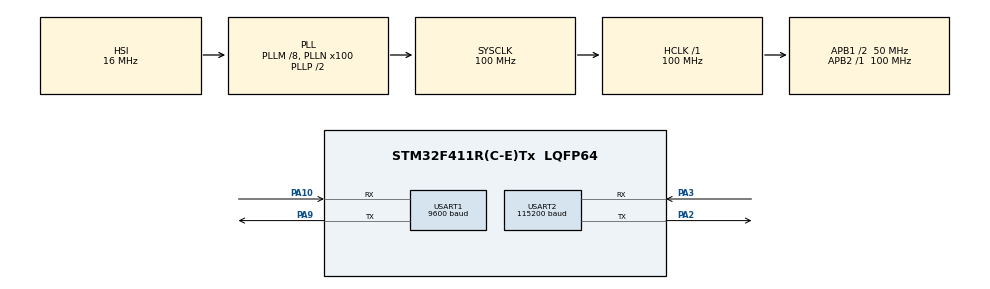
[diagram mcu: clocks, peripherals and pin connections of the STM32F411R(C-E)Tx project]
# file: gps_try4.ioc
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Dma.Request0=USART1_RX
Dma.USART1_RX.0.Direction=DMA_PERIPH_TO_MEMORY
Dma.USART1_RX.0.FIFOMode=DMA_FIFOMODE_DISABLE
Dma.USART1_RX.0.Instance=DMA2_Stream2
Dma.USART1_RX.0.MemDataAlignment=DMA_MDATAALIGN_BYTE
Dma.USART1_RX.0.MemInc=DMA_MINC_ENABLE
Dma.USART1_RX.0.Mode=DMA_CIRCULAR
Dma.USART1_RX.0.PeriphDataAlignment=DMA_PDATAALIGN_BYTE
Dma.USART1_RX.0.PeriphInc=DMA_PINC_DISABLE
Dma.USART1_RX.0.Priority=DMA_PRIORITY_HIGH
Mcu.Family=STM32F4
Mcu.Name=STM32F411R(C-E)Tx
Mcu.Package=LQFP64
NVIC.DMA2_Stream2_IRQn=true\:0\:0\:false\:false\:true\:false\:true
NVIC.PriorityGroup=NVIC_PRIORITYGROUP_0
NVIC.USART1_IRQn=true\:0\:0\:false\:false\:true\:true\:true
PA10.Mode=Asynchronous
PA10.Signal=USART1_RX
PA2.Mode=Asynchronous
PA2.Signal=USART2_TX
PA3.Mode=Asynchronous
PA3.Signal=USART2_RX
PA9.Mode=Asynchronous
PA9.Signal=USART1_TX
ProjectManager.HeapSize=0x200
ProjectManager.StackSize=0x400
ProjectManager.TargetToolchain=STM32CubeIDE
RCC.48MHZClocksFreq_Value=50000000
RCC.AHBFreq_Value=100000000
RCC.APB1CLKDivider=RCC_HCLK_DIV2
RCC.APB1Freq_Value=50000000
RCC.APB1TimFreq_Value=100000000
RCC.APB2Freq_Value=100000000
RCC.APB2TimFreq_Value=100000000
RCC.CortexFreq_Value=100000000
RCC.FLatency-AdvancedSettings=FLASH_LATENCY_3
RCC.HCLKFreq_Value=100000000
RCC.HSE_VALUE=8000000
RCC.HSI_VALUE=16000000
RCC.LSE_VALUE=32768
RCC.PLLM=8
RCC.PLLN=100
RCC.SYSCLKFreq_VALUE=100000000
RCC.SYSCLKSource=RCC_SYSCLKSOURCE_PLLCLK
RCC.VCOOutputFreq_Value=200000000
USART1.BaudRate=9600
USART1.VirtualMode=VM_ASYNC
USART2.BaudRate=115200
USART2.VirtualMode=VM_ASYNC
board=NUCLEO-F411RE

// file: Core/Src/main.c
/* USER CODE BEGIN Header */
/**
 ******************************************************************************
 * @file           : main.c
 * @brief          : Main program body
 ******************************************************************************
 * @attention
 *
 * <h2><center>&copy; Copyright (c) 2021 STMicroelectronics.
 * All rights reserved.</center></h2>
 *
 * This software component is licensed by ST under BSD 3-Clause license,
 * the "License"; You may not use this file except in compliance with the
 * License. You may obtain a copy of the License at:
 *                        opensource.org/licenses/BSD-3-Clause
 *
 ******************************************************************************
 */
/* USER CODE END Header */
#include "main.h"

/* USER CODE BEGIN Includes */
#include <stdio.h>
#include <string.h>
#include <stdlib.h>
#include <stdarg.h> //for va_list var arg functions
/* USER CODE END Includes */

/* USER CODE BEGIN PD */
#define SIZE 300 // Buffer boyutu.
/* USER CODE END PD */

UART_HandleTypeDef huart1;
UART_HandleTypeDef huart2;
DMA_HandleTypeDef hdma_usart1_rx;

/* USER CODE BEGIN PV */
uint8_t flag = 0;
/* USER CODE END PV */

void SystemClock_Config(void);
static void MX_GPIO_Init(void);
static void MX_DMA_Init(void);
static void MX_USART2_UART_Init(void);
static void MX_USART1_UART_Init(void);
/* USER CODE BEGIN PFP */
void HAL_UART_RxCpltCallback(UART_HandleTypeDef *huart) {

	/* Eğer huart1 buffer dolduysa, bayrağı işaretle. */
	flag = 1;

}

float GPS_nmea_to_dec(float deg_coord, char nsew) {
    int degree = (int)(deg_coord/100);
    float minutes = deg_coord - degree*100;
    float dec_deg = minutes / 60;
    float decimal = degree + dec_deg;
    if (nsew == 'S' || nsew == 'W') { // return negative
        decimal *= -1;
    }
    return decimal;
}
int nmea0183_checksum(char *msg) {

	int checksum = 0;
	int j = 0;

	// the first $ sign and the last two bytes of original CRC + the * sign
	for (j = 1; j < strlen(msg) - 4; j++) {
		checksum = checksum ^ (unsigned) msg[j];
	}

	return checksum;
}

void serialPrint(const char *fmt, ...) {
	static char buffer[256];
	va_list args;
	va_start(args, fmt);
	vsnprintf(buffer, sizeof(buffer), fmt, args);
	va_end(args);

	HAL_UART_Transmit(&huart2, (uint8_t*) buffer, strlen(buffer), -1); // UART defined at huart2 for serial communication with computer.

}

/* USER CODE END PFP */

int main(void)
{

  /* MCU Configuration--------------------------------------------------------*/

  /* Reset of all peripherals, Initializes the Flash interface and the Systick. */
  HAL_Init();

  /* Configure the system clock */
  SystemClock_Config();

  /* Initialize all configured peripherals */
  MX_GPIO_Init();
  MX_DMA_Init();
  MX_USART2_UART_Init();
  MX_USART1_UART_Init();
  /* USER CODE BEGIN 2 */

	/* Recieve buffer */
	uint8_t gpsRx[SIZE];
	memset(gpsRx, 0, SIZE); // Bufferı temizle.

	/* DMA'yı huart1 için başlat; circular mode */
	HAL_UART_Receive_DMA(&huart1, gpsRx, SIZE);

	/* Gerekli değişkenler */
	char stringBuffer[SIZE + 1]; // stringBuffer --> Integer gelen uart verisini, char'a çevirip saklamak için. (+1 eklentisi, en sona NULL eklemek için.)
	memset(stringBuffer, 0, SIZE + 1); // Buffer gereksiz veriden temizleniyor.

	char nmeaStr[100]; // NMEA verisini saklayacağımız değişken.
	memset(nmeaStr, 0, 100); // Buffer temizleniyor.

	/* Gelen bilgiyi parçalara bölmek için kullanılacak fonksiyonlar için değişkenler. (strsep ve strdup) */
	char *token, *string, *stringFree;
	char *rawSum;	// NMEA checksum değişkeni.
	char smNmbr[3]; // NMEA checksum değişkeni.
	uint8_t intSum;
	char hex[2]; // Checksum saklama değişkeni.

	//GPS bilgisi için veri yapısı.
	typedef struct{

	    // calculated values
		float dec_longitude;
	    float dec_latitude;

	    // GGA - Global Positioning System Fixed Data
	    float nmea_longitude;
	    float nmea_latitude;
	    float utc_time;
	    char ns, ew;

	    // GPS - RMC
	    float speed_k;
	    int date;

	    // GLL
	    char gll_status;

	} GPS_t;
	GPS_t gpsData;
	gpsData.date = 00000000;

  /* USER CODE END 2 */

  /* Infinite loop */
  /* USER CODE BEGIN WHILE */
	while (1) {

		/* Eğer buffer dolduysa devam et. */
		if (flag == 1) {

			/* Gelen veriyi bilgisayara yolla. */
			//HAL_UART_Transmit(&huart2, gpsRx, SIZE, 200); // Debug maksatlı, istenilirse kapatılabilir.

			/* Integer buffer ---> string buffer */
			sprintf(stringBuffer, "%s", gpsRx);

			/* Gelen veri, char'a çeviliyor. (Integer'den) */
			string = strdup(stringBuffer); // stringFree ile işimiz bitince belleği geri bırakacağız.

			stringFree = string;

			/* Gelen NMEA verisini, satır sonuna göre bölünüyor. (\n) */
			while( (token = strsep(&string, "\n")) != NULL ){

				memset(nmeaStr, 0, 100); // Eski verileri siliyoruz.
				sprintf(nmeaStr, "%s", token); // Token verisi, işlenmek üzere char array'e aktarılıyor.

				/* Cümlelere bölünen verileri, istediğimize göre filtreleyeceğiz. */
				/* İyi bir NMEA cümlesi $GPRMC ile başlar, * ile biter ve en az 49 karakter uzunluğunda olur. */
				if ((strstr(nmeaStr, "$GPRMC") != 0) && strlen(nmeaStr) > 49 && strstr(nmeaStr, "*") != 0) {

					/* NMEA checksum */
					rawSum = strstr(nmeaStr, "*"); // * ile başlyan checksum verisi depolanır.
					memcpy(smNmbr, &rawSum[1], 2); // *'dan sonrası smNmbr değişkenine kopyalanır.
					smNmbr[2] = '\0'; // smNmbr değişkenin sonuna satır sonu işaretçisi eklenir.
					intSum = nmea0183_checksum(nmeaStr); // Checksum hesabı yapıyoruz.
					sprintf(hex, "%X", intSum); // Kıyaslayabilmek için checksum'u hex formatında kaydediyoruz.

					/* Checksum kontrolü. */
					if (strstr(smNmbr, hex) != NULL) {

						/* Gelen veriyi bilgisayara aktarmak için... */
						//HAL_UART_Transmit(&huart2, (uint8_t*) nmeaStr, 100, 70);
						//HAL_UART_Transmit(&huart2, (uint8_t*) "\n", 1, 200);

						/* Chekcsum doğru, gelen NMEA cümlesinde hata yok. Cümleyi parçalara bölebiliriz. */
						sscanf(nmeaStr, "$GPRMC,%f,%c,%f,%c,%f,%c,%f,,%d", &gpsData.utc_time, &gpsData.gll_status, &gpsData.nmea_latitude, &gpsData.ns, &gpsData.nmea_longitude, &gpsData.ew, &gpsData.speed_k, &gpsData.date);
						/* Enlem ve boylam bilgisini, yerkürenin bulunduğumuz tarafına göre anlamlandırıp standart formata getiriyoruz. */
						gpsData.dec_latitude = GPS_nmea_to_dec(gpsData.nmea_latitude, gpsData.ns);
						gpsData.dec_longitude = GPS_nmea_to_dec(gpsData.nmea_longitude, gpsData.ew);

						/* Gelen, anlamlandırılmış veriyi bilgisayara anlatmak için. */
						serialPrint("Lat.: %f, Lon.: %f, Speed (knot): %f, UTC: %f, Date: %d\r\n", gpsData.dec_latitude, gpsData.dec_longitude, gpsData.speed_k, gpsData.utc_time, gpsData.date);

					} else if((strstr(nmeaStr, "$GPGLL") != 0) && strlen(nmeaStr) > 49 && strstr(nmeaStr, "*") != 0) {

						/* NMEA checksum */
						rawSum = strstr(nmeaStr, "*"); // * ile başlyan checksum verisi depolanır.
						memcpy(smNmbr, &rawSum[1], 2); // *'dan sonrası smNmbr değişkenine kopyalanır.
						smNmbr[2] = '\0'; // smNmbr değişkenin sonuna satır sonu işaretçisi eklenir.
						intSum = nmea0183_checksum(nmeaStr); // Checksum hesabı yapıyoruz.
						sprintf(hex, "%X", intSum); // Kıyaslayabilmek için checksum'u hex formatında kaydediyoruz.

						/* Checksum kontrolü. */
						if (strstr(smNmbr, hex) != NULL) {

							/* Gelen veriyi bilgisayara aktarmak için... */
							//HAL_UART_Transmit(&huart2, (uint8_t*) nmeaStr, 100, 70);
							//HAL_UART_Transmit(&huart2, (uint8_t*) "\n", 1, 200);

							/* Chekcsum doğru, gelen NMEA cümlesinde hata yok. Cümleyi parçalara bölebiliriz. */
							sscanf(nmeaStr, "$GPGLL,%f,%c,%f,%c,%f,%c", &gpsData.nmea_latitude, &gpsData.ns, &gpsData.nmea_longitude, &gpsData.ew, &gpsData.utc_time, &gpsData.gll_status);
							/* Enlem ve boylam bilgisini, yerkürenin bulunduğumuz tarafına göre anlamlandırıp standart formata getiriyoruz. */
							gpsData.dec_latitude = GPS_nmea_to_dec(gpsData.nmea_latitude, gpsData.ns);
							gpsData.dec_longitude = GPS_nmea_to_dec(gpsData.nmea_longitude, gpsData.ew);

							/* Gelen, anlamlandırılmış veriyi bilgisayara anlatmak için. */
							serialPrint("Lat.: %f, Lon.: %f, UTC: %f, Date: %d\r\n", gpsData.dec_latitude, gpsData.dec_longitude, gpsData.utc_time, gpsData.date);

						}

					}

				} // NMEA cümlesi seçimi bitti.

			} // "\n" ile gelen veriyi cümlelere ayırma bitti.

			/* Bellekte gerekisz yer kaplayan değişkeni temizliyoruz. (Eğer aşağısı yorum olarak kayıt edildiyse, sebebi aşağıdaki fonksiyonların işlemcide kritik hataya sebep olmasıdır.) */
			free(token);
			free(stringFree);

			/* Yeni veri almaya hazırız. */
			flag = 0;
			memset(gpsRx, 0, SIZE);
			HAL_UART_Receive_DMA(&huart1, gpsRx, SIZE);

		}

		/* Yarım saniye gecikme. */
		//HAL_Delay(500);

    /* USER CODE END WHILE */

	}
}

void SystemClock_Config(void)
{
  RCC_OscInitTypeDef RCC_OscInitStruct = {0};
  RCC_ClkInitTypeDef RCC_ClkInitStruct = {0};

  /** Configure the main internal regulator output voltage
  */
  __HAL_RCC_PWR_CLK_ENABLE();
  __HAL_PWR_VOLTAGESCALING_CONFIG(PWR_REGULATOR_VOLTAGE_SCALE1);
  /** Initializes the RCC Oscillators according to the specified parameters
  * in the RCC_OscInitTypeDef structure.
  */
  RCC_OscInitStruct.OscillatorType = RCC_OSCILLATORTYPE_HSI;
  RCC_OscInitStruct.HSIState = RCC_HSI_ON;
  RCC_OscInitStruct.HSICalibrationValue = RCC_HSICALIBRATION_DEFAULT;
  RCC_OscInitStruct.PLL.PLLState = RCC_PLL_ON;
  RCC_OscInitStruct.PLL.PLLSource = RCC_PLLSOURCE_HSI;
  RCC_OscInitStruct.PLL.PLLM = 8;
  RCC_OscInitStruct.PLL.PLLN = 100;
  RCC_OscInitStruct.PLL.PLLP = RCC_PLLP_DIV2;
  RCC_OscInitStruct.PLL.PLLQ = 4;
  if (HAL_RCC_OscConfig(&RCC_OscInitStruct) != HAL_OK)
  {
    Error_Handler();
  }
  /** Initializes the CPU, AHB and APB buses clocks
  */
  RCC_ClkInitStruct.ClockType = RCC_CLOCKTYPE_HCLK|RCC_CLOCKTYPE_SYSCLK
                              |RCC_CLOCKTYPE_PCLK1|RCC_CLOCKTYPE_PCLK2;
  RCC_ClkInitStruct.SYSCLKSource = RCC_SYSCLKSOURCE_PLLCLK;
  RCC_ClkInitStruct.AHBCLKDivider = RCC_SYSCLK_DIV1;
  RCC_ClkInitStruct.APB1CLKDivider = RCC_HCLK_DIV2;
  RCC_ClkInitStruct.APB2CLKDivider = RCC_HCLK_DIV1;

  if (HAL_RCC_ClockConfig(&RCC_ClkInitStruct, FLASH_LATENCY_3) != HAL_OK)
  {
    Error_Handler();
  }
}

static void MX_USART1_UART_Init(void)
{

  huart1.Instance = USART1;
  huart1.Init.BaudRate = 9600;
  huart1.Init.WordLength = UART_WORDLENGTH_8B;
  huart1.Init.StopBits = UART_STOPBITS_1;
  huart1.Init.Parity = UART_PARITY_NONE;
  huart1.Init.Mode = UART_MODE_TX_RX;
  huart1.Init.HwFlowCtl = UART_HWCONTROL_NONE;
  huart1.Init.OverSampling = UART_OVERSAMPLING_16;
  if (HAL_UART_Init(&huart1) != HAL_OK)
  {
    Error_Handler();
  }

}

static void MX_USART2_UART_Init(void)
{

  huart2.Instance = USART2;
  huart2.Init.BaudRate = 115200;
  huart2.Init.WordLength = UART_WORDLENGTH_8B;
  huart2.Init.StopBits = UART_STOPBITS_1;
  huart2.Init.Parity = UART_PARITY_NONE;
  huart2.Init.Mode = UART_MODE_TX_RX;
  huart2.Init.HwFlowCtl = UART_HWCONTROL_NONE;
  huart2.Init.OverSampling = UART_OVERSAMPLING_16;
  if (HAL_UART_Init(&huart2) != HAL_OK)
  {
    Error_Handler();
  }

}

static void MX_DMA_Init(void)
{

  /* DMA controller clock enable */
  __HAL_RCC_DMA2_CLK_ENABLE();

  /* DMA interrupt init */
  /* DMA2_Stream2_IRQn interrupt configuration */
  HAL_NVIC_SetPriority(DMA2_Stream2_IRQn, 0, 0);
  HAL_NVIC_EnableIRQ(DMA2_Stream2_IRQn);

}

static void MX_GPIO_Init(void)
{

  /* GPIO Ports Clock Enable */
  __HAL_RCC_GPIOA_CLK_ENABLE();

}

void Error_Handler(void)
{
	__disable_irq();
	while (1) {
	}
}

/************************ (C) COPYRIGHT STMicroelectronics *****END OF FILE****/
